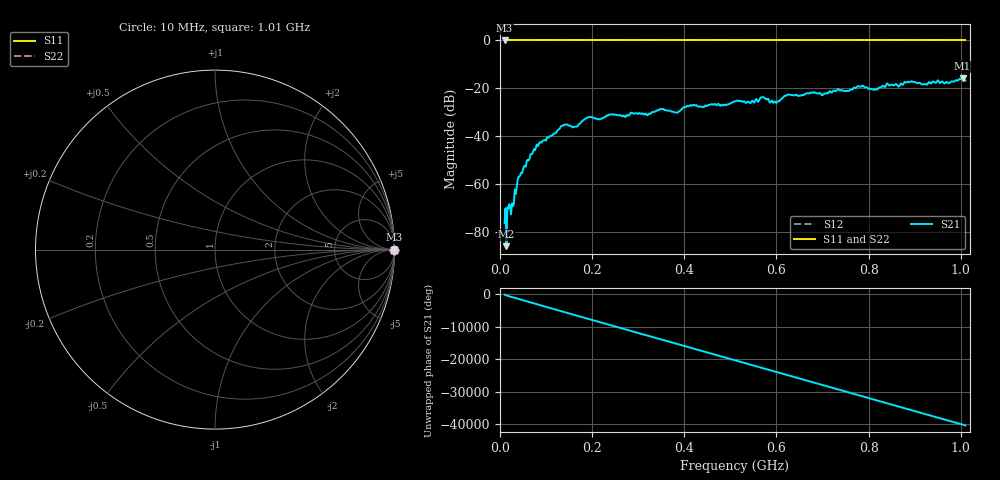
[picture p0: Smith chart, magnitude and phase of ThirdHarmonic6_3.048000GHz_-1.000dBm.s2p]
! 8/17/2025 8:50:52 AM
! C:\ANRITSUVNA\TEMP\TEMP.S2P
! CHANNEL.1
! TR.MEASUREMENT
! RAW.DATA
! RF.CORRECTION.OFF
! AVERAGING.OFF
! IF.BANDWIDTH: 5KHZ
! SWEEPTYPE:  FREQ.SWEEP(Linear)
! Reference Plane Port Info
! PORT:  PORT1  PORT2
! DISTANCE:  0  m  0  m
! TIME:  0  s  0  s
! PHASE.OFFSET:  0  deg.  0  deg.
! LOSS:  0  dB  0  dB
! REF.LOSS:  0  dB  0  dB
! REF.FREQ:  0  Hz  0  Hz
! Power Info
! POWER:  -20  dBm  -20  dBm
! EFF.POWER:  -20  dBm  -20  dBm
! SOURCE.ATTEN:  0  dB  0  dB
! TEST.ATTEN:  0  dB  0  dB
# GHZ S RI R 50.0
! FREQ.GHZ  S11RE  S11IM  S21RE  S21IM  S12RE  S12IM  S22RE  S22IM
!; PortSelection: Port_12
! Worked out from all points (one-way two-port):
!   501 points, 10 MHz to 1.01 GHz, reference 50 ohm
!   highest |S21| = -15.87 dB at 1.004 GHz (marker M1); lowest = -85.8 dB at 14 MHz (marker M2)
!   lowest |S11| = 0.0 dB at 10 MHz (marker M3)
!   |S11| at or under -10 dB: nowhere
!   |S22| runs from 0.0 to 0.0 dB; largest |S21 - S12| = 1.1
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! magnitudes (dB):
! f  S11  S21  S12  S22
! 10 MHz  0.0  -76.2  0.0  0.0
! 14 MHz  0.0  -85.8  0.0  0.0
! 26 MHz  0.0  -67.9  0.0  0.0
! 42 MHz  0.0  -56.8  0.0  0.0
! 82 MHz  0.0  -44.1  0.0  0.0
! 136 MHz  0.0  -35.6  0.0  0.0
! 162 MHz  0.0  -36.0  0.0  0.0
! 178 MHz  0.0  -33.7  0.0  0.0
! 344 MHz  0.0  -29.2  0.0  0.0
! 382 MHz  0.0  -30.1  0.0  0.0
! 410 MHz  0.0  -27.5  0.0  0.0
! 510 MHz  0.0  -25.4  0.0  0.0
! 570 MHz  0.0  -23.7  0.0  0.0
! 596 MHz  0.0  -25.5  0.0  0.0
! 622 MHz  0.0  -22.9  0.0  0.0
! 678 MHz  0.0  -21.9  0.0  0.0
! 702 MHz  0.0  -22.4  0.0  0.0
! 784 MHz  0.0  -19.2  0.0  0.0
! 814 MHz  0.0  -20.3  0.0  0.0
! 844 MHz  0.0  -18.8  0.0  0.0
! 1.004 GHz  0.0  -15.9  0.0  0.0
! 1.01 GHz  0.0  -16.8  0.0  0.0
